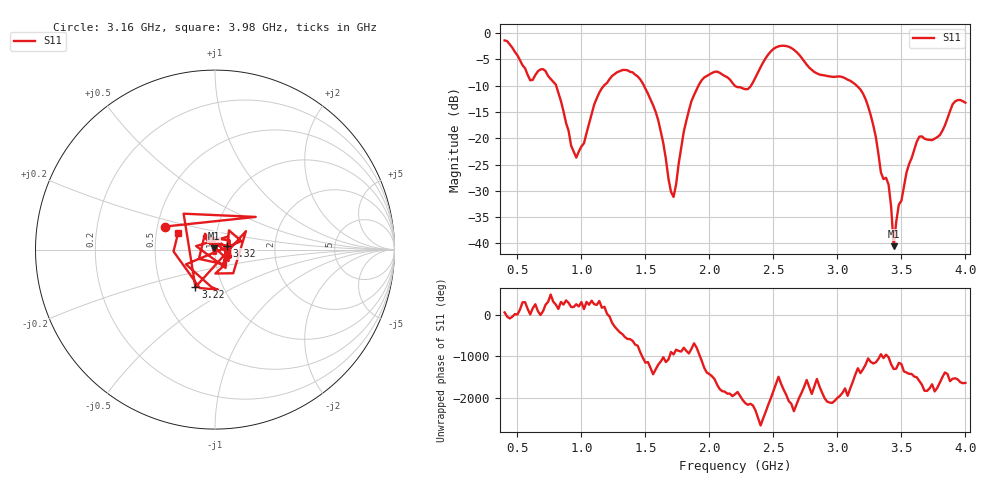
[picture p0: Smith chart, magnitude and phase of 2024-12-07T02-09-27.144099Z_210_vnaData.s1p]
!Created with skrf (http://scikit-rf.org).
# Hz S RI R 50.0
!freq ReS11 ImS11
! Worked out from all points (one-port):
!   181 points, 400 MHz to 4 GHz, reference 50 ohm
!   lowest |S11| = -40.5 dB at 3.44 GHz (marker M1), VSWR 1.02, Z = 49.3 + j0.634 ohm
!   |S11| at or under -10 dB: 802.7 MHz to 1.176 GHz (373.6 MHz wide, 37.8 % of centre); 1.488 GHz to 1.915 GHz (426.1 MHz wide, 25 % of centre); 3.151 GHz to end of sweep (the widest 3 of 4)
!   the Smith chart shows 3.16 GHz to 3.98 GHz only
!   S11 on the Smith chart (normalised r, x): 3.16 GHz: 0.55, +0.15; 3.22 GHz: 0.74, -0.33; 3.32 GHz: 1.15, +0.05; 3.98 GHz: 0.65, +0.12
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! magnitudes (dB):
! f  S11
! 400 MHz  -1.4
! 600 MHz  -9.0
! 720 MHz  -7.2
! 860 MHz  -14.9
! 960 MHz  -23.7
! 1.14 GHz  -11.3
! 1.3 GHz  -7.2
! 1.56 GHz  -13.7
! 1.72 GHz  -31.2
! 1.76 GHz  -24.8
! 1.84 GHz  -14.7
! 1.94 GHz  -9.0
! 2.2 GHz  -10.1
! 2.3 GHz  -10.7
! 2.52 GHz  -2.7
! 2.66 GHz  -3.2
! 3.1 GHz  -9.1
! 3.16 GHz  -10.2
! 3.22 GHz  -12.6
! 3.32 GHz  -22.9
! 3.4 GHz  -28.8
! 3.44 GHz  -40.5
! 3.48 GHz  -32.6
! 3.56 GHz  -24.9
! 3.64 GHz  -19.7
! 3.8 GHz  -19.4
! 3.98 GHz  -13.0
! 4 GHz  -13.2
